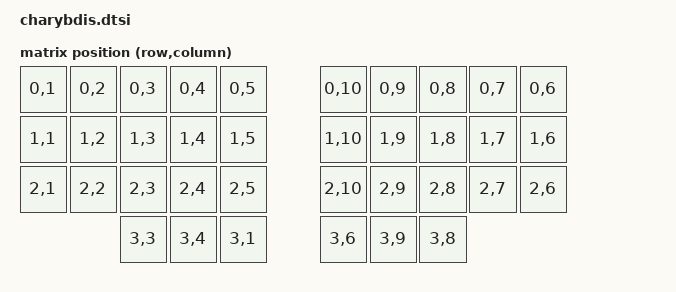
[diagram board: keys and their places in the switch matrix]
#include <dt-bindings/zmk/matrix_transform.h>
#include <dt-bindings/zmk/input_transform.h>
#include "charybdis-layouts.dtsi"
#include <input/processors.dtsi>

/ {
    // chosen {
    //     zmk,kscan = &kscan0;
    //     zmk,matrix_transform = &default_transform;
    // };
    chosen {
        zmk,kscan = &kscan0;
        zmk,physical-layout = &charybdis_physical_layout;
    };

    vbatt: vbatt {
	compatible = "zmk,battery-nrf-vddh";
    };

    default_transform: keymap_transform_0 {
        compatible = "zmk,matrix-transform";
        columns = <10>;
        rows = <4>;

        map = <
	RC(0,1) RC(0,2) RC(0,3) RC(0,4) RC(0,5)  RC(0,10) RC(0,9) RC(0,8) RC(0,7) RC(0,6)
	RC(1,1) RC(1,2) RC(1,3) RC(1,4) RC(1,5)  RC(1,10) RC(1,9) RC(1,8) RC(1,7) RC(1,6)
	RC(2,1) RC(2,2) RC(2,3) RC(2,4) RC(2,5)  RC(2,10) RC(2,9) RC(2,8) RC(2,7) RC(2,6)
				    RC(3,3) RC(3,4) RC(3,1)  RC(3,6) RC(3,9) RC(3,8)
        >;
    };
	
    kscan0: kscan {
        wakeup-source;
        diode-direction = "row2col";
    };
    
  split_inputs {
    #address-cells = <1>;
    #size-cells = <0>;

    trackball_split: trackball_split@0 {
      compatible = "zmk,input-split";
      reg = <0>;
    };
    trackball_split2: trackball_split2@1 {
      compatible = "zmk,input-split";
      reg = <1>;
    };
  };

  trackball_listener: trackball_listener {
    compatible = "zmk,input-listener";
    status = "disabled";
    device = <&trackball_split>;
    input-processors = <&zip_xy_transform (INPUT_TRANSFORM_Y_INVERT | INPUT_TRANSFORM_X_INVERT | INPUT_TRANSFORM_XY_SWAP)>, <&zip_xy_scaler 1 3>;

    scroll {
      layers = <6>;
      input-processors = <&zip_xy_scaler 1 12>;
    };
  };

  trackball_listener2: trackball_listener2 {
    compatible = "zmk,input-listener";
    status = "disabled";
    device = <&trackball_split2>;
    input-processors = <&zip_xy_transform (INPUT_TRANSFORM_XY_SWAP)>, <&zip_xy_to_scroll_mapper>, <&zip_scroll_scaler 1 10>;

    scroll {
      layers = <1>;
      input-processors = <&zip_xy_transform (INPUT_TRANSFORM_X_INVERT | INPUT_TRANSFORM_XY_SWAP)>, <&zip_xy_scaler 1 12>, <&zip_xy_to_scroll_mapper>;
    };
  };
};
